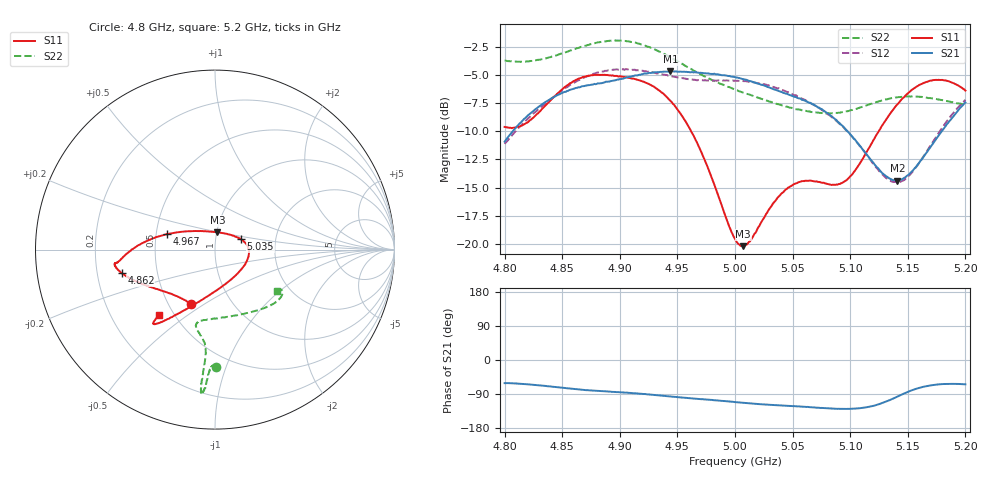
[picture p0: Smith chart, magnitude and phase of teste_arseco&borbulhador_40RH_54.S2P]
! Network Analyzer HP8722D
! Hewlett-Packard
! Data name: Linha & Wilkinson
! Saver's name: Rodrigo Anjos
! Comments: Teste da utilização de aquisição
! continua pelo VNA HP8722D
! Time and date: 15/4/2025 16:48
!  Frequency  S11  S21  S12  S22
# HZ  S  MA R 50
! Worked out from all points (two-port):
!   401 points, 4.8 GHz to 5.2 GHz, reference 50 ohm
!   highest |S21| = -4.64 dB at 4.944 GHz (marker M1); lowest = -14.4 dB at 5.141 GHz (marker M2)
!   |S21| within 3 dB of the highest: 4.832 GHz to 5.069 GHz (237.2 MHz wide, 4.79 % of centre); 5.198038 GHz to end of sweep
!   lowest |S11| = -20.2 dB at 5.007 GHz (marker M3), VSWR 1.22, Z = 50.4 + j9.82 ohm
!   |S11| at or under -10 dB: 4.962 GHz to 5.125 GHz (162.8 MHz wide, 3.23 % of centre)
!   |S22| runs from -8.4 to -1.9 dB; largest |S21 - S12| = 0.88
!   S11 on the Smith chart (normalised r, x): 4.8 GHz: 0.65, -0.44; 4.862 GHz: 0.31, -0.11; 4.967 GHz: 0.57, +0.11; 5.035 GHz: 1.33, +0.16; 5.2 GHz: 0.41, -0.39
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4.8e9  0.3311 -114.0  0.2846 -61.0  0.2784 -175.1  0.6542 -89.6
4.819e9  0.3452 -133.9  0.3674 -63.9  0.3551 -173.6  0.6484 -91.3
4.84e9  0.4355 -153.0  0.4418 -69.8  0.4409 -173.9  0.678 -92.7
4.862e9  0.5367 -165.9  0.4942 -76.9  0.5275 -176.6  0.7396 -93.7
4.867e9  0.549 -167.8  0.5027 -78.6  0.5434 -177.6  0.7548 -93.8
4.902e9  0.5546 -172.4  0.5424 -85.4  0.5978 175.1  0.8015 -95.4
4.934e9  0.4825 -178.2  0.5804 -93.4  0.5736 171.8  0.7182 -95.8
4.944e9  0.4332 177.2  0.5861 -96.2  0.5575 171.8  0.6762 -95.5
4.967e9  0.2821 162.3  0.5786 -102.3  0.5342 173.8  0.5787 -95.1
5e9  0.105 106.1  0.5521 -111.0  0.5327 176.3  0.4857 -99.4
5.007e9  0.09742 82.1  0.5408 -112.8  0.5302 176.3  0.4712 -101.0
5.014e9  0.1041 59.8  0.5288 -114.7  0.5266 176.0  0.4586 -102.4
5.035e9  0.155 21.9  0.4848 -119.2  0.4958 174.9  0.4218 -103.8
5.051e9  0.184 5.1  0.452 -121.8  0.4596 174.4  0.4001 -99.9
5.067e9  0.1902 -12.2  0.4181 -124.8  0.4196 173.9  0.3855 -91.8
5.086e9  0.1828 -42.6  0.3619 -128.5  0.3594 173.6  0.3814 -77.5
5.097e9  0.192 -65.8  0.3197 -129.1  0.3183 174.3  0.389 -68.2
5.134e9  0.3749 -116.5  0.1953 -106.2  0.1914 -159.0  0.4427 -43.4
5.141e9  0.4176 -120.4  0.191 -96.3  0.1876 -148.0  0.4489 -40.3
5.153e9  0.4821 -125.3  0.2084 -80.4  0.206 -129.7  0.4525 -36.0
5.171e9  0.5335 -129.0  0.2755 -66.5  0.2798 -112.3  0.4437 -31.9
5.2e9  0.4808 -130.5  0.4254 -64.2  0.4373 -106.2  0.4157 -33.6
